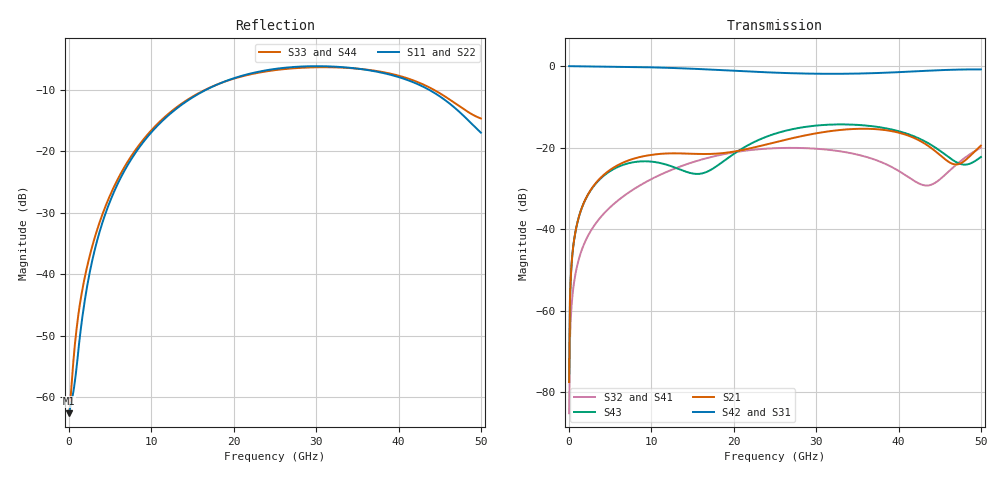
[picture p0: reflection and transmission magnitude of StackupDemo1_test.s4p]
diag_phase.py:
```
"""分析 S13 的频域相位，判断脉冲应该出现在哪个时间位置。"""
import os, sys
import numpy as np
import skrf as rf
import matplotlib
matplotlib.use("Agg")
import matplotlib.pyplot as plt

ROOT = os.path.dirname(os.path.dirname(os.path.abspath(__file__)))
sys.path.insert(0, ROOT)
plt.rcParams["font.sans-serif"] = ["SimHei"] if sys.platform == "win32" else ["WenQuanYi Zen Hei"]
plt.rcParams["axes.unicode_minus"] = False

TEST_FILE = r"C:/Users/33202/Desktop/HFSS script/StackupDemo1_test.s4p"
ntw = rf.Network(TEST_FILE)
f = ntw.f
s13 = ntw.s[:, 0, 2]

mag = np.abs(s13)
ph_unwrap = np.unwrap(np.angle(s13))
group_delay_ps = -np.gradient(ph_unwrap, f) * 1e12 / (2 * np.pi)

print(f"|S13|     范围: {mag.min():.3f} ~ {mag.max():.3f}")
print(f"|S13| @DC(extrap): {mag[0]:.3f}  @{f[0]/1e9:.2f} GHz")
print(f"|S13| @fmax: {mag[-1]:.3f}  @{f[-1]/1e9:.2f} GHz")
print(f"相位 @{f[0]/1e9:.2f}GHz : {np.degrees(ph_unwrap[0]):+.1f}°")
print(f"相位 @1GHz   : {np.degrees(np.interp(1e9, f, ph_unwrap)):+.1f}°")
print(f"相位 @{f[-1]/1e9:.2f}GHz: {np.degrees(ph_unwrap[-1]):+.1f}°")
print()
print(f"群延迟 (平均): {np.mean(group_delay_ps):.1f} ps")
print(f"群延迟 (中位): {np.median(group_delay_ps):.1f} ps")
print(f"群延迟 (1~10GHz): {np.median(group_delay_ps[(f>=1e9)&(f<=10e9)]):.1f} ps")
print(f"群延迟 (10~30GHz): {np.median(group_delay_ps[(f>=10e9)&(f<=30e9)]):.1f} ps")

# 同时打印 S11 的延迟（TDR 参考）
s11 = ntw.s[:, 0, 0]
print()
print(f"|S11|     范围: {np.abs(s11).min():.3f} ~ {np.abs(s11).max():.3f}")

fig, axes = plt.subplots(3, 1, figsize=(11, 8))
axes[0].plot(f / 1e9, 20 * np.log10(mag + 1e-12), label="|S13|")
axes[0].plot(f / 1e9, 20 * np.log10(np.abs(s11) + 1e-12), label="|S11|", alpha=0.6)
axes[0].set_ylabel("幅度 (dB)")
axes[0].grid(True, alpha=0.4)
axes[0].legend()
axes[0].set_xlim(0, f[-1] / 1e9)

axes[1].plot(f / 1e9, np.degrees(ph_unwrap), label="∠S13 unwrap")
axes[1].set_ylabel("相位 (°)")
axes[1].grid(True, alpha=0.4)
axes[1].legend()
axes[1].set_xlim(0, f[-1] / 1e9)

axes[2].plot(f / 1e9, group_delay_ps, label="S13 群延迟")
axes[2].axhline(np.median(group_delay_ps), ls="--", color="gray",
                label=f"中位={np.median(group_delay_ps):.0f}ps")
axes[2].set_xlabel("频率 (GHz)")
axes[2].set_ylabel("群延迟 (ps)")
axes[2].grid(True, alpha=0.4)
axes[2].legend()
axes[2].set_xlim(0, f[-1] / 1e9)

plt.tight_layout()
out_dir = os.path.join(ROOT, "dev_scripts", "diag_out")
os.makedirs(out_dir, exist_ok=True)
out_path = os.path.join(out_dir, "phase_S13.png")
plt.savefig(out_path, dpi=110)
print()
print(f"图像已保存: {out_path}")
```
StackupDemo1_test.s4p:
! Touchstone file exported from HFSS 2019.1.0
!  File:  C:/Users/33202/Desktop/HFSS script/StackupDemo1_test.aedt
!  Generated:  5:38:57 ä¸å  8æ 29, 2025
!  Design:  StackupDesign
!  Project:  StackupDemo1_test
!  Setup:  Setup1
!  Solution:  Sweep1
! Variables:
!  Position_via_L11 = 0um
!  Position_via_L16 = 0um
!  Position_via_L4 = 758um
!  Position_via_L8 = 336um
!  Position_via_L9 = 240um
!  R_L10_pad_out = 45um
!  R_L11_pad_in = 45um
!  R_L11_pad_out = 45um
!  R_L12_pad_out = 45um
!  R_L13_pad_out = 45um
!  R_L14_pad_out = 45um
!  R_L15_pad_out = 45um
!  R_L16_pad_in = 150um
!  R_L16_pad_out = 150um
!  R_L4_pad_in = 45um
!  R_L4_pad_out = 45um
!  R_L5_pad_out = 45um
!  R_L6_pad_out = 45um
!  R_L7_pad_out = 45um
!  R_L8_pad_in = 50um
!  R_L8_pad_out = 100um
!  R_L9_pad_in = 100um
!  R_L9_pad_out = 50um
!  R_anti_L11 = 90um
!  R_anti_L16 = 450um
!  R_anti_L4 = 90um
!  R_anti_L8 = 180um
!  R_anti_L9 = 90um
!  R_anti_pcb = 400um
!  R_bottom_anti = 450um
!  R_bottom_pad = 150um
!  R_core_anti = 180um
!  R_core_pad = 100um
!  R_core_via = 50um
!  R_micro_anti = 90um
!  R_micro_c_anti = 100um
!  R_micro_c_pad = 50um
!  R_micro_c_via = 30um
!  R_micro_pad = 45um
!  R_micro_via = 30um
!  R_pad_pcb = 150um
!  R_via_pcb = 50um
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# GHz S RI R
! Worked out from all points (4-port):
!   500 points, 10 MHz to 50 GHz, reference per port
!   strongest paths, dB at 10 MHz, 12.53 GHz, 25.06 GHz, 37.58 GHz, 50 GHz:
!     S42: 0.0, -0.4, -1.6, -1.7, -0.8
!     S31: 0.0, -0.4, -1.6, -1.7, -0.8
!     S21: -77.5, -21.4, -18.7, -15.5, -19.5
!     S43: -77.5, -24.6, -16.6, -15.0, -22.3
!     S32: -85.2, -25.4, -20.1, -23.3, -20.0
!     S41: -85.2, -25.4, -20.1, -23.3, -20.0
!   lowest |S11| = -62.7 dB at 10 MHz (marker M1), VSWR 1.00
!   |S11| at or under -10 dB: start of sweep to 16.55 GHz; 43.78 GHz to end of sweep
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0.01  0.000736 1.08e-05  3.92e-05 0.000127  0.9992 -0.00151  -3.79e-05 -3.97e-05
      3.92e-05 0.000127  0.000736 1.08e-05  -3.79e-05 -3.97e-05  0.9992 -0.00151
      0.9992 -0.00151  -3.79e-05 -3.97e-05  0.000737 1e-05  3.93e-05 0.000127
      -3.79e-05 -3.97e-05  0.9992 -0.00151  3.93e-05 0.000127  0.000736 9.97e-06
6.321363  -0.0542 0.0301  0.0377 0.0516  0.6236 -0.7589  -0.0183 -0.0156
          0.0377 0.0516  -0.0543 0.0301  -0.0183 -0.0156  0.6235 -0.759
          0.6236 -0.7589  -0.0183 -0.0156  0.0171 -0.0647  0.0547 0.0251
          -0.0183 -0.0156  0.6235 -0.759  0.0547 0.0251  0.0171 -0.0647
50  -0.1337 0.0489  0.1049 0.014  0.8416 -0.3508  -0.0297 -0.0953
    0.1049 0.014  -0.1332 0.0497  -0.0297 -0.0954  0.8415 -0.3511
    0.8416 -0.3508  -0.0297 -0.0954  0.1797 -0.0474  -0.0562 0.0523
    -0.0297 -0.0953  0.8415 -0.3511  -0.0562 0.0523  0.18 -0.0466
